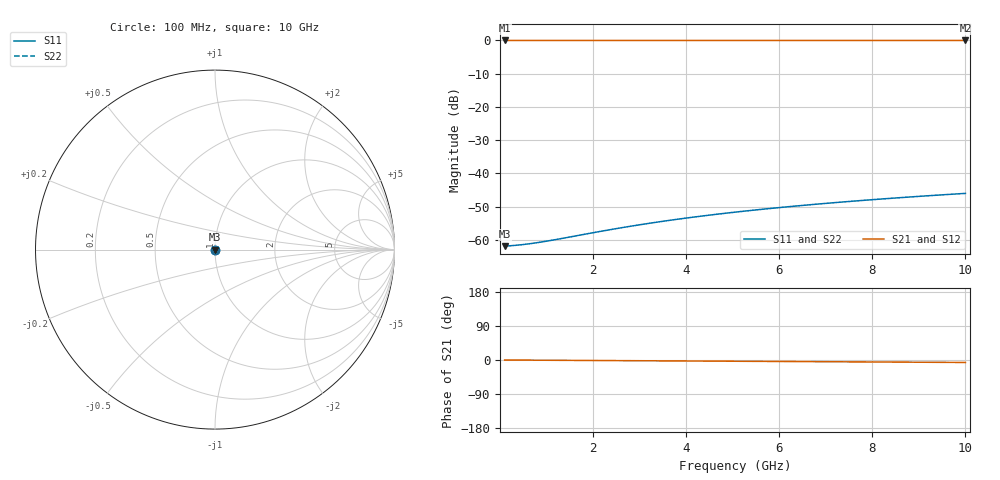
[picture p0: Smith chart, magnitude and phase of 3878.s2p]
# Hz S RI R 50.00
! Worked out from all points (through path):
!   100 points, 100 MHz to 10 GHz, reference 50 ohm
!   highest |S21| = -0.01 dB at 100 MHz (marker M1); lowest = 0.0 dB at 10 GHz (marker M2)
!   lowest |S11| = -61.9 dB at 100 MHz (marker M3), VSWR 1.00, Z = 50.1 - j0.00495 ohm
!   |S11| at or under -10 dB: start of sweep to end of sweep
!   |S22| runs from -61.9 to -46.0 dB; largest |S21 - S12| = 0
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1e8  0.000801 -4.95e-05  0.9992 -0.00113  0.9992 -0.00113  0.000801 -4.95e-05
3e8  0.000809 -0.000148  0.9992 -0.00339  0.9992 -0.00339  0.000809 -0.000148
4e8  0.000811 -0.000198  0.9992 -0.00452  0.9992 -0.00452  0.000811 -0.000198
6e8  0.000814 -0.000297  0.9992 -0.00678  0.9992 -0.00678  0.000814 -0.000297
8e8  0.000816 -0.000396  0.9991 -0.00904  0.9991 -0.00904  0.000816 -0.000396
1e9  0.000816 -0.000495  0.9991 -0.0113  0.9991 -0.0113  0.000816 -0.000495
1.2e9  0.000816 -0.000594  0.9991 -0.0136  0.9991 -0.0136  0.000816 -0.000594
1.8e9  0.000811 -0.000892  0.9989 -0.0203  0.9989 -0.0203  0.000811 -0.000892
2.2e9  0.000805 -0.00109  0.9988 -0.0249  0.9988 -0.0249  0.000805 -0.00109
2.6e9  0.000797 -0.00129  0.9987 -0.0294  0.9987 -0.0294  0.000797 -0.00129
3e9  0.000786 -0.00149  0.9986 -0.0339  0.9986 -0.0339  0.000786 -0.00149
3.4e9  0.000774 -0.00169  0.9984 -0.0384  0.9984 -0.0384  0.000774 -0.00169
3.8e9  0.000759 -0.00189  0.9982 -0.0429  0.9982 -0.0429  0.000759 -0.00189
4.2e9  0.000743 -0.00209  0.998 -0.0475  0.998 -0.0475  0.000743 -0.00209
4.6e9  0.000725 -0.00229  0.9977 -0.052  0.9977 -0.052  0.000725 -0.00229
5.1e9  0.000699 -0.00254  0.9974 -0.0576  0.9974 -0.0576  0.000699 -0.00254
5.9e9  0.000653 -0.00294  0.9969 -0.0667  0.9969 -0.0667  0.000653 -0.00294
6.7e9  0.000599 -0.00334  0.9962 -0.0757  0.9962 -0.0757  0.000599 -0.00334
7.5e9  0.000537 -0.00374  0.9955 -0.0847  0.9955 -0.0847  0.000537 -0.00374
8.4e9  0.00046 -0.00419  0.9945 -0.0949  0.9945 -0.0949  0.00046 -0.00419
9.2e9  0.000383 -0.00459  0.9936 -0.1039  0.9936 -0.1039  0.000383 -0.00459
1e10  0.000299 -0.00499  0.9926 -0.113  0.9926 -0.113  0.000299 -0.00499
